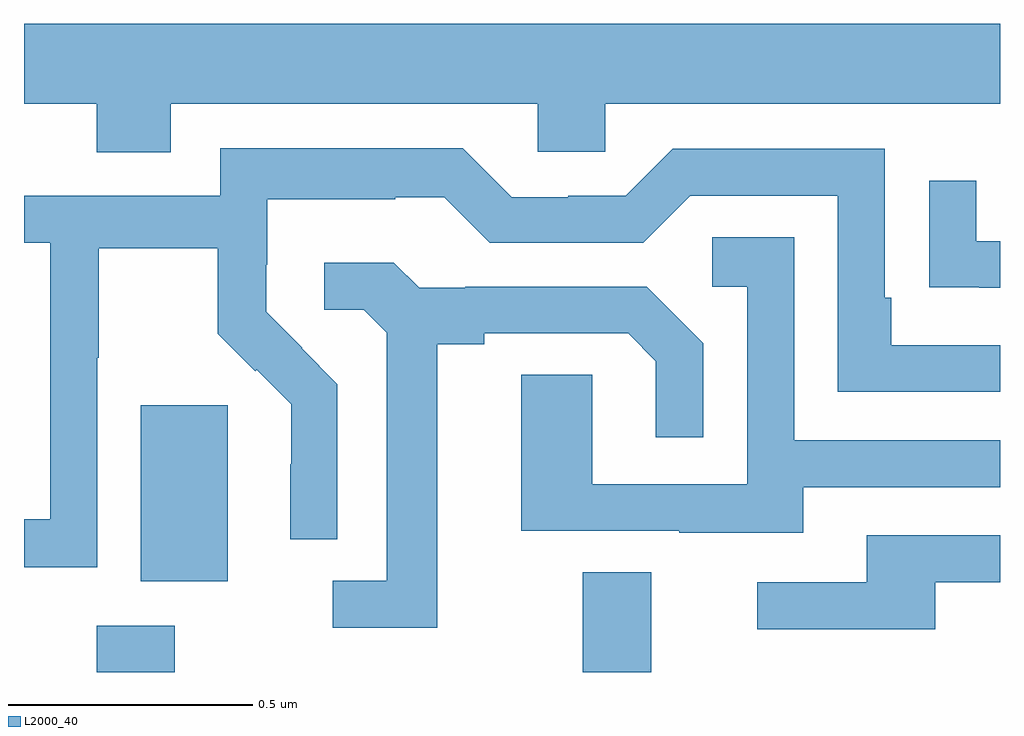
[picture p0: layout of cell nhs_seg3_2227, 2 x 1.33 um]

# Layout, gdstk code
import gdstk
lib = gdstk.Library(unit=1e-6, precision=1e-09)
def R(c, l, rs):  # rectangles x0, y0, x1, y1
    for r in rs: c.add(gdstk.rectangle(r[:2], r[2:], *l))
def P(c, l, *ps):  # polygons
    for p in ps: c.add(gdstk.Polygon(p, *l))
L2000_40 = (2000, 40)

nhs_seg3_2227 = lib.new_cell('nhs_seg3_2227')
R(nhs_seg3_2227, L2000_40, [(138.149,718.4,138.309,718.495), (139.145,718.4,139.285,718.604), (138.239,718.586,138.418,718.947)])
P(nhs_seg3_2227, L2000_40, [(138.301,719.564),(139.053,719.564),(139.053,719.466),(139.191,719.466),(139.191,719.564),(140,719.564),(140,719.728),(138,719.728),(138,719.564),(138.149,719.564),(138.149,719.465),(138.301,719.465)],
  [(138.15,719.044),(138.153,719.044),(138.153,719.268),(138.397,719.268),(138.397,719.093),(138.474,719.016),(138.477,719.019),(138.548,718.949),(138.548,718.826),(138.546,718.826),(138.546,718.672),(138.642,718.672),(138.642,718.99),(138.569,719.063),(138.57,719.064),(138.496,719.138),(138.496,719.235),(138.498,719.235),(138.498,719.369),(138.761,719.369),(138.761,719.373),(138.861,719.373),(138.954,719.28),(139.269,719.28),(139.365,719.376),(139.668,719.376),(139.668,718.974),(140,718.974),(140,719.07),(139.777,719.07),(139.777,719.167),(139.764,719.167),(139.764,719.472),(139.329,719.472),(139.233,719.376),(139.115,719.376),(139.115,719.373),(138.999,719.373),(138.899,719.473),(138.402,719.473),(138.402,719.376),(138,719.376),(138,719.28),(138.054,719.28),(138.054,718.713),(138,718.713),(138,718.615),(138.15,718.615)],
  [(140,719.283),(139.951,719.283),(139.951,719.407),(139.855,719.407),(139.855,719.188),(139.957,719.188),(139.957,719.187),(140,719.187)],
  [(139.597,718.779),(140,718.779),(140,718.875),(139.578,718.875),(139.578,719.291),(139.41,719.291),(139.41,719.19),(139.482,719.19),(139.482,718.785),(139.164,718.785),(139.164,719.009),(139.019,719.009),(139.019,718.689),(139.343,718.689),(139.343,718.685),(139.597,718.685)],
  [(138.847,719.072),(138.943,719.072),(138.943,719.094),(139.238,719.094),(139.295,719.037),(139.295,718.881),(139.392,718.881),(139.392,719.074),(139.276,719.19),(138.904,719.19),(138.904,719.187),(138.81,719.187),(138.758,719.239),(138.615,719.239),(138.615,719.142),(138.696,719.142),(138.743,719.095),(138.743,718.587),(138.633,718.587),(138.633,718.491),(138.847,718.491)],
  [(139.867,718.584),(140,718.584),(140,718.68),(139.727,718.68),(139.727,718.584),(139.503,718.584),(139.503,718.488),(139.867,718.488)])

lib.write_gds('nhs_seg3_2227.gds')
